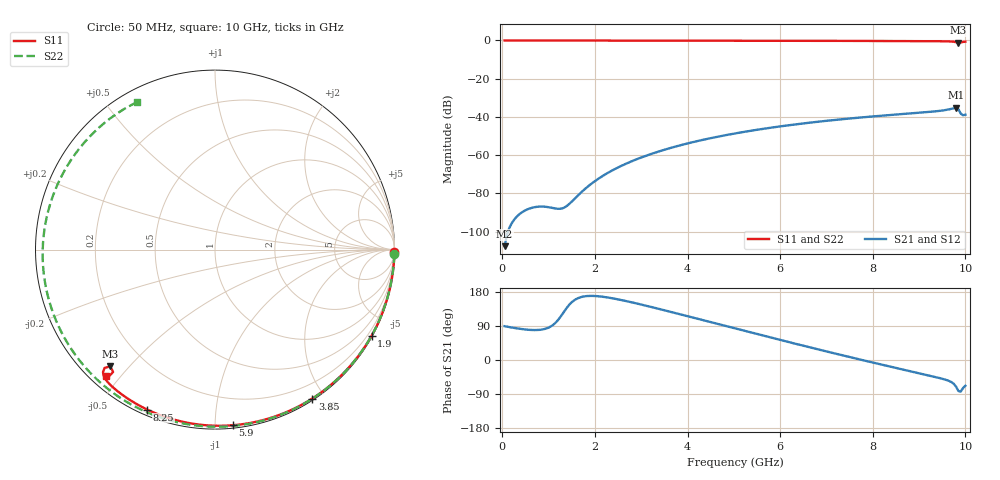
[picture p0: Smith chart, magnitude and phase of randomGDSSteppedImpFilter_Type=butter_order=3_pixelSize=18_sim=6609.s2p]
! freq	dB(S11)	phase(S11)	dB(S12)	phase(S12)
!  dB(S21)	phase(S21)	dB(S22)	phase(S22)
!S-par simulation data
#  GHz  S  DB  R 50
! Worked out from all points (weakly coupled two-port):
!   200 points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, 50 MHz to 10 GHz, reference 50 ohm
!   highest |S21| = -35.18 dB at 9.8 GHz (marker M1); lowest = -107.6 dB at 50 MHz (marker M2)
!   lowest |S11| = -1.2 dB at 9.85 GHz (marker M3), VSWR 14.89, Z = 4.02 - j22.2 ohm
!   |S11| at or under -10 dB: nowhere
!   |S22| runs from -0.6 to 0.0 dB; largest |S21 - S12| = 0
!   S11 on the Smith chart (normalised r, x): 50 MHz: open; 1.9 GHz: 0.03, -3.90; 3.85 GHz: 0.02, -1.85; 5.9 GHz: 0.02, -1.11; 8.25 GHz: 0.02, -0.66; 10 GHz: 0.04, -0.46
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0.05  -0.00 -0.8  -107.65 89.2  -107.65 89.2  -0.00 -1.5
0.85  -0.02 -13.0  -86.92 80.3  -86.92 80.3  -0.03 -24.2
1.65  -0.03 -25.1  -80.72 163.9  -80.72 163.9  -0.06 -46.4
1.75  -0.03 -26.6  -78.46 167.4  -78.46 167.4  -0.06 -49.1
1.9  -0.04 -28.8  -75.42 169.2  -75.42 169.2  -0.07 -53.1
2.2  -0.04 -33.2  -70.42 166.4  -70.42 166.4  -0.08 -61.0
2.55  -0.05 -38.3  -65.86 158.8  -65.86 158.8  -0.09 -70.1
3.4  -0.07 -50.5  -57.93 134.3  -57.93 134.3  -0.12 -91.2
3.85  -0.08 -56.9  -54.81 120.3  -54.81 120.3  -0.13 -101.8
4.45  -0.09 -65.1  -51.38 101.4  -51.38 101.4  -0.16 -115.6
5.05  -0.11 -73.1  -48.55 82.5  -48.55 82.5  -0.19 -129.0
5.9  -0.14 -84.2  -45.31 56.1  -45.31 56.1  -0.24 -147.5
6.7  -0.18 -94.3  -42.85 31.6  -42.85 31.6  -0.30 -164.7
7.5  -0.23 -104.0  -40.84 7.8  -40.84 7.8  -0.36 177.9
8.25  -0.28 -113.0  -39.26 -13.9  -39.26 -13.9  -0.44 161.0
8.35  -0.29 -114.2  -39.06 -16.7  -39.06 -16.7  -0.45 158.7
9.45  -0.42 -127.6  -36.83 -47.9  -36.83 -47.9  -0.56 132.2
9.8  -0.90 -133.0  -35.18 -70.7  -35.18 -70.7  -0.60 123.2
9.85  -1.17 -131.9  -36.01 -82.0  -36.01 -82.0  -0.61 121.9
9.9  -1.04 -129.8  -38.31 -83.3  -38.31 -83.3  -0.62 120.6
9.95  -0.77 -129.9  -39.16 -73.7  -39.16 -73.7  -0.63 119.4
10  -0.63 -130.8  -38.84 -68.0  -38.84 -68.0  -0.63 118.0
